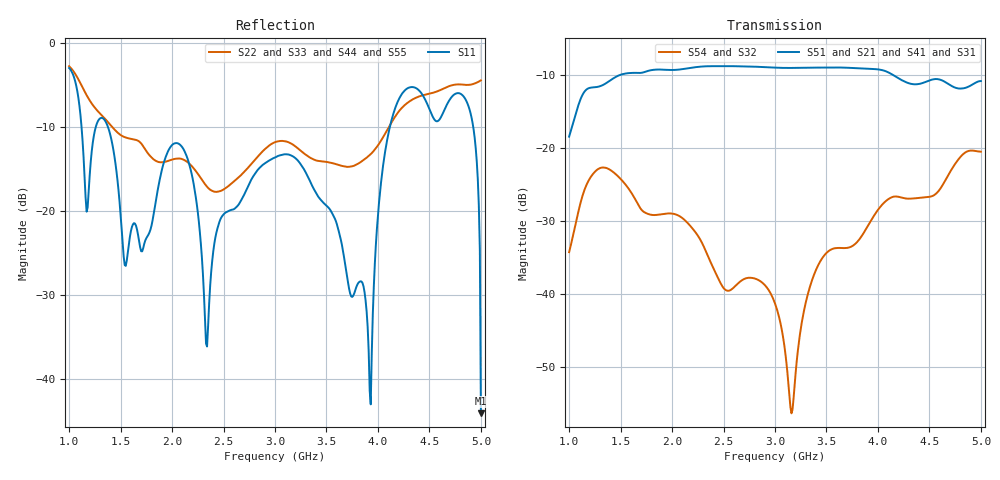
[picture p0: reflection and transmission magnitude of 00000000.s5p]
! AWR Design Environment (19377) Sat Dec 27 02:21:50 2025
! Document = 'EM_Extract_4_way'
! nPorts: 5, nXvals: 401
! Created with skrf 1.8.0 (http://scikit-rf.org).
# GHz S RI R 50.0
!freq ReS11 ImS11 ReS12 ImS12 ReS13 ImS13
! ReS14 ImS14 ReS15 ImS15
! ReS21 ImS21 ReS22 ImS22 ReS23 ImS23
! ReS24 ImS24 ReS25 ImS25
! ReS31 ImS31 ReS32 ImS32 ReS33 ImS33
! ReS34 ImS34 ReS35 ImS35
! ReS41 ImS41 ReS42 ImS42 ReS43 ImS43
! ReS44 ImS44 ReS45 ImS45
! ReS51 ImS51 ReS52 ImS52 ReS53 ImS53
! ReS54 ImS54 ReS55 ImS55
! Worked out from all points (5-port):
!   401 points, 1 GHz to 5 GHz, reference 50 ohm
!   strongest paths, dB at 1 GHz, 2 GHz, 3 GHz, 4 GHz, 5 GHz:
!     S51: -18.5, -9.3, -9.0, -9.3, -10.9
!     S21: -18.5, -9.3, -9.0, -9.2, -10.8
!     S41: -18.5, -9.3, -9.0, -9.3, -10.9
!     S31: -18.5, -9.3, -9.0, -9.3, -11.0
!     S54: -34.3, -29.0, -41.3, -28.5, -20.5
!     S32: -34.3, -29.0, -41.2, -28.4, -20.5
!   lowest |S11| = -44.1 dB at 5 GHz (marker M1), VSWR 1.01, Z = 50.6 + j0.257 ohm
!   |S11| at or under -10 dB: 1.121 GHz to 1.258 GHz (137.5 MHz wide, 11.6 % of centre); 1.378 GHz to 4.115 GHz (2.737 GHz wide, 99.6 % of centre); 4.926 GHz to end of sweep
